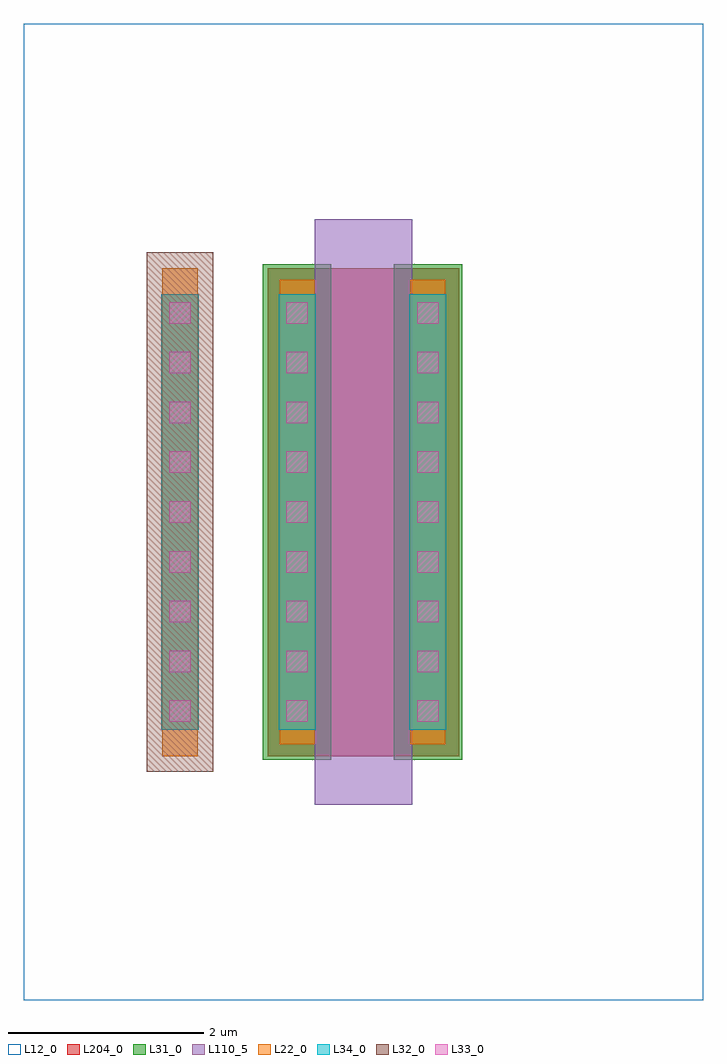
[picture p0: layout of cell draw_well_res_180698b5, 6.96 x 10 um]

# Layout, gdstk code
import gdstk
lib = gdstk.Library(unit=1e-6, precision=1e-09)
def R(c, l, rs):  # rectangles x0, y0, x1, y1
    for r in rs: c.add(gdstk.rectangle(r[:2], r[2:], *l))
def A(c, l, x, y, w, h, nx, ny, dx, dy):  # array of equal rectangles
    R(c, l, [(x+i*dx, y+j*dy, x+i*dx+w, y+j*dy+h) for i in range(nx) for j in range(ny)])
L12_0 = (12, 0)
L22_0 = (22, 0)
L31_0 = (31, 0)
L32_0 = (32, 0)
L33_0 = (33, 0)
L34_0 = (34, 0)
L110_5 = (110, 5)
L204_0 = (204, 0)

draw_well_res_180698b5 = lib.new_cell('draw_well_res_180698b5')
R(draw_well_res_180698b5, L12_0, [(-2.98,-2,3.98,8)])
R(draw_well_res_180698b5, L22_0, [(-1.56,0.5,-1.2,5.5), (-0.36,0.62,0,5.38), (0.98,0.62,1.34,5.38)])
R(draw_well_res_180698b5, L31_0, [(-0.53,0.46,0.17,5.54), (0.81,0.46,1.51,5.54)])
R(draw_well_res_180698b5, L32_0, [(-1.72,0.34,-1.04,5.66)])
A(draw_well_res_180698b5, L33_0, -1.49, 0.85, 0.22, 0.22, 1, 9, 0, 0.51)
A(draw_well_res_180698b5, L33_0, -0.29, 0.85, 0.22, 0.22, 1, 9, 0, 0.51)
A(draw_well_res_180698b5, L33_0, 1.05, 0.85, 0.22, 0.22, 1, 9, 0, 0.51)
R(draw_well_res_180698b5, L34_0, [(-1.57,0.77,-1.19,5.23), (-0.37,0.77,0.01,5.23), (0.97,0.77,1.35,5.23)])
R(draw_well_res_180698b5, L110_5, [(0,0,1,6)])
R(draw_well_res_180698b5, L204_0, [(-0.48,0.5,1.48,5.5)])

lib.write_gds('draw_well_res_180698b5.gds')
